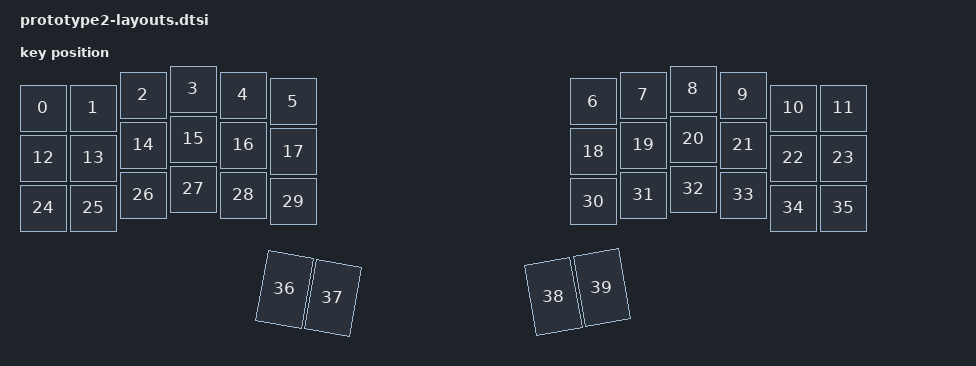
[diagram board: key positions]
#include <physical_layouts.dtsi>

/ {
    physical_layout_0: physical_layout_0 {
        compatible = "zmk,physical-layout";
        display-name = "Default";

        keys  //                     w   h    x    y     rot    rx    ry
            = <&key_physical_attrs 100 100    0   38       0     0     0>
            , <&key_physical_attrs 100 100  100   38       0     0     0>
            , <&key_physical_attrs 100 100  200   12       0     0     0>
            , <&key_physical_attrs 100 100  300    0       0     0     0>
            , <&key_physical_attrs 100 100  400   12       0     0     0>
            , <&key_physical_attrs 100 100  500   25       0     0     0>
            , <&key_physical_attrs 100 100 1100   25       0     0     0>
            , <&key_physical_attrs 100 100 1200   12       0     0     0>
            , <&key_physical_attrs 100 100 1300    0       0     0     0>
            , <&key_physical_attrs 100 100 1400   12       0     0     0>
            , <&key_physical_attrs 100 100 1500   38       0     0     0>
            , <&key_physical_attrs 100 100 1600   38       0     0     0>
            , <&key_physical_attrs 100 100    0  138       0     0     0>
            , <&key_physical_attrs 100 100  100  138       0     0     0>
            , <&key_physical_attrs 100 100  200  112       0     0     0>
            , <&key_physical_attrs 100 100  300  100       0     0     0>
            , <&key_physical_attrs 100 100  400  112       0     0     0>
            , <&key_physical_attrs 100 100  500  125       0     0     0>
            , <&key_physical_attrs 100 100 1100  125       0     0     0>
            , <&key_physical_attrs 100 100 1200  112       0     0     0>
            , <&key_physical_attrs 100 100 1300  100       0     0     0>
            , <&key_physical_attrs 100 100 1400  112       0     0     0>
            , <&key_physical_attrs 100 100 1500  138       0     0     0>
            , <&key_physical_attrs 100 100 1600  138       0     0     0>
            , <&key_physical_attrs 100 100    0  238       0     0     0>
            , <&key_physical_attrs 100 100  100  238       0     0     0>
            , <&key_physical_attrs 100 100  200  212       0     0     0>
            , <&key_physical_attrs 100 100  300  200       0     0     0>
            , <&key_physical_attrs 100 100  400  212       0     0     0>
            , <&key_physical_attrs 100 100  500  225       0     0     0>
            , <&key_physical_attrs 100 100 1100  225       0     0     0>
            , <&key_physical_attrs 100 100 1200  212       0     0     0>
            , <&key_physical_attrs 100 100 1300  200       0     0     0>
            , <&key_physical_attrs 100 100 1400  212       0     0     0>
            , <&key_physical_attrs 100 100 1500  238       0     0     0>
            , <&key_physical_attrs 100 100 1600  238       0     0     0>
            , <&key_physical_attrs 100 150  500  368    1000   500   350>
            , <&key_physical_attrs 100 150  600  386    1000   600   350>
            , <&key_physical_attrs 100 150 1000  400 (-1000)  1000   350>
            , <&key_physical_attrs 100 150 1100  382 (-1000)  1100   350>
            ;
    };
};
